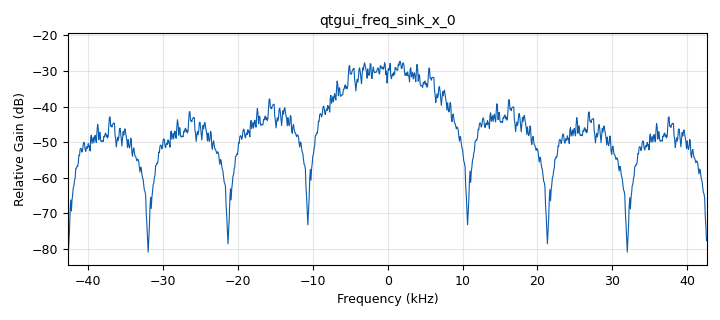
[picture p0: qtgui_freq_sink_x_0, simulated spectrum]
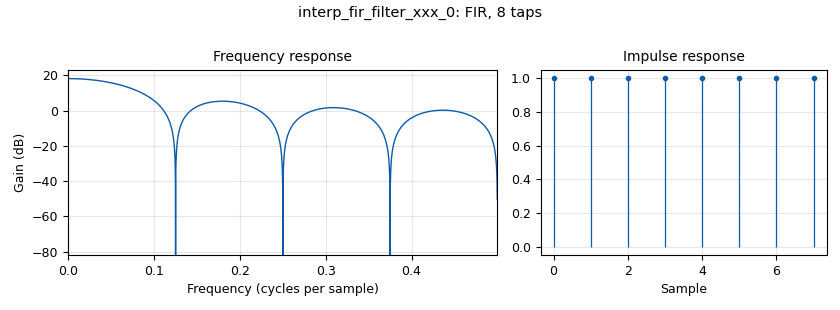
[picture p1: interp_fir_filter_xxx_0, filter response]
options:
  parameters:
    generate_options: qt_gui
    id: video_homero
    output_language: python
    title: Not titled yet
  states: {}

blocks:
- name: M
  id: variable
  parameters:
    value: '8'
  states: {}
- name: Nbps
  id: variable
  parameters:
    value: int(math.log(M,2))
  states: {}
- name: Rb
  id: variable
  parameters:
    value: '32000'
  states: {}
- name: Rs
  id: variable
  parameters:
    value: Rb/Nbps
  states: {}
- name: Samp_Rate
  id: variable
  parameters:
    value: Rs*sps
  states: {}
- name: h
  id: variable
  parameters:
    value: '[1]*sps'
  states: {}
- name: sps
  id: variable
  parameters:
    value: '8'
  states: {}
- name: analog_const_source_x_0
  id: analog_const_source_x
  parameters:
    const: '1.'
    type: float
  states: {}
- name: analog_random_source_x_0
  id: analog_random_source_x
  parameters:
    max: '2'
    min: '0'
    num_samps: '1000'
    repeat: 'True'
    type: byte
  states: {}
- name: blocks_char_to_float_0
  id: blocks_char_to_float
  parameters:
    scale: '1'
  states: {state: disabled}
- name: blocks_char_to_float_1
  id: blocks_char_to_float
  parameters:
    scale: '1'
  states: {}
- name: blocks_multiply_const_vxx_0
  id: blocks_multiply_const_vxx
  parameters:
    const: 2*math.pi/M
    type: float
  states: {}
- name: blocks_repack_bits_bb_0
  id: blocks_repack_bits_bb
  parameters:
    endianness: gr.GR_LSB_FIRST
    k: '1'
    l: Nbps
  states: {}
- name: epy_block_0
  id: epy_block
  parameters:
    _source_code: |
      """# Nota : si desea encontrar este codigo listo para copiar y pegar , tenga en
      cuenta las siguientes opciones : 1) el codigo esta dentro de un bloques
      embebido 2) hemos guardado una copia de estos bloques del bloque jerarquico
      b_help que hemos incluido en la libreria de bloques comdiguis que se aporta
      con este libro ."""
      import numpy as np
      from gnuradio import gr
      class blk (gr. sync_block ):
          """ Es un VCO de dos entradas :
          Q: para manipular la fase en radianes ,
          A: para manipular la
          amplitud . """
          def __init__ ( self ) :
              gr. sync_block . __init__ (self ,
              name ='e_VCO_fase_fc ',
              in_sig =[ np. float32 , np. float32 ],
              out_sig =[ np. complex64 ]
              )
          def work (self , input_items , output_items ):
              Q= input_items [0]
              A= input_items [1]
              Sec = output_items [0]
              Sec [:] = A*np. exp (1.j*Q)
              return len (Sec)
  states: {}
- name: import_0
  id: import
  parameters:
    imports: import math
  states: {}
- name: interp_fir_filter_xxx_0
  id: interp_fir_filter_xxx
  parameters:
    interp: '8'
    taps: h
    type: ccc
  states: {}
- name: qtgui_const_sink_x_0
  id: qtgui_const_sink_x
  parameters:
    autoscale: 'True'
    size: '1024'
    type: complex
  states: {state: disabled}
- name: qtgui_freq_sink_x_0
  id: qtgui_freq_sink_x
  parameters:
    autoscale: 'True'
    average: '0.05'
    bw: Samp_Rate
    fc: '0'
    fftsize: '1024'
    grid: 'True'
    type: complex
  states: {}
- name: qtgui_time_sink_x_0
  id: qtgui_time_sink_x
  parameters:
    autoscale: 'True'
    label1: Binary
    marker1: '0'
    size: '32'
    srate: Rb
    stemplot: 'True'
    type: float
    width1: '3'
  states: {state: disabled}
- name: qtgui_time_sink_x_0_0
  id: qtgui_time_sink_x
  parameters:
    autoscale: 'True'
    label1: M-PAM
    marker1: '0'
    size: 32//Nbps
    srate: Rs
    stemplot: 'True'
    type: float
    width1: '3'
  states: {state: disabled}
- name: qtgui_time_sink_x_1
  id: qtgui_time_sink_x
  parameters:
    alpha1: '1'
    autoscale: 'True'
    label1: M- PAM Modificada
    marker1: '0'
    size: '10'
    srate: Rs
    stemplot: 'True'
    type: float
    width1: '3'
  states: {state: disabled}
- name: qtgui_time_sink_x_2
  id: qtgui_time_sink_x
  parameters:
    autoscale: 'True'
    label1: Ec Real
    label2: Ec Imaginaria
    marker1: '0'
    marker2: '0'
    size: 32//Nbps
    srate: Rs
    stemplot: 'True'
    type: complex
    width1: '3'
    width2: '3'
  states: {state: disabled}
- name: qtgui_time_sink_x_2_0
  id: qtgui_time_sink_x
  parameters:
    autoscale: 'True'
    label1: Ec Real
    label2: Ec Imaginaria
    size: 32*sps//Nbps
    srate: Samp_Rate
    type: complex
    width1: '3'
    width2: '3'
  states: {state: disabled}

connections:
- [analog_const_source_x_0, '0', epy_block_0, '1']
- [analog_random_source_x_0, '0', blocks_char_to_float_0, '0']
- [analog_random_source_x_0, '0', blocks_repack_bits_bb_0, '0']
- [blocks_char_to_float_0, '0', qtgui_time_sink_x_0, '0']
- [blocks_char_to_float_1, '0', blocks_multiply_const_vxx_0, '0']
- [blocks_char_to_float_1, '0', qtgui_time_sink_x_0_0, '0']
- [blocks_multiply_const_vxx_0, '0', epy_block_0, '0']
- [blocks_multiply_const_vxx_0, '0', qtgui_time_sink_x_1, '0']
- [blocks_repack_bits_bb_0, '0', blocks_char_to_float_1, '0']
- [epy_block_0, '0', interp_fir_filter_xxx_0, '0']
- [epy_block_0, '0', qtgui_const_sink_x_0, '0']
- [epy_block_0, '0', qtgui_time_sink_x_2, '0']
- [interp_fir_filter_xxx_0, '0', qtgui_freq_sink_x_0, '0']
- [interp_fir_filter_xxx_0, '0', qtgui_time_sink_x_2_0, '0']

metadata:
  file_format: 1
  grc_version: 3.10.5.1
